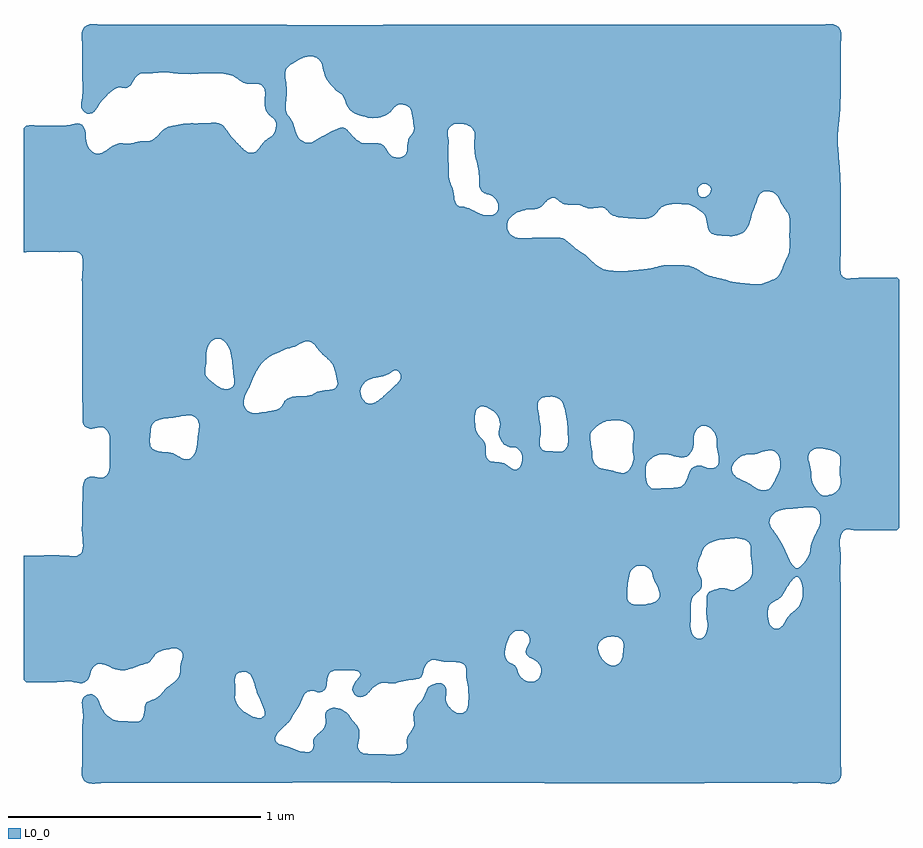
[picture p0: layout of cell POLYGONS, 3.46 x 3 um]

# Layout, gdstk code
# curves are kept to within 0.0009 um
import gdstk
lib = gdstk.Library(unit=1e-6, precision=1e-09)
def R(c, l, rs):  # rectangles x0, y0, x1, y1
    for r in rs: c.add(gdstk.rectangle(r[:2], r[2:], *l))
def P(c, l, *ps):  # polygons
    for p in ps: c.add(gdstk.Polygon(p, *l))
L0_0 = (0, 0)

polygons = lib.new_cell('POLYGONS')
R(polygons, L0_0, [(-1.06,-0.98,-0.87,-0.87), (-0.87,-0.98,-0.727,-0.87), (-0.727,-0.98,-0.561,-0.87), (-0.561,-0.98,-0.405,-0.87), (-0.405,-0.98,-0.22,-0.87), (-0.22,-0.98,0,-0.87), (-1.5,-0.87,-1.432,-0.76), (-1.432,-0.87,-1.24,-0.76), (-1.24,-0.87,-1.06,-0.76), (-1.06,-0.87,-0.87,-0.76), (-0.87,-0.87,-0.727,-0.76), (-0.727,-0.87,-0.561,-0.76), (-0.561,-0.87,-0.405,-0.76), (-0.405,-0.87,-0.22,-0.76), (-0.22,-0.87,0,-0.76), (0,-0.87,0.174,-0.76), (0.174,-0.87,0.33,-0.76), (0.33,-0.87,0.56,-0.76), (-1.432,-0.76,-1.24,-0.47), (-1.24,-0.76,-1.06,-0.47), (-1.06,-0.76,-0.87,-0.47), (-0.87,-0.76,-0.727,-0.47), (-0.727,-0.76,-0.561,-0.47), (-0.561,-0.76,-0.405,-0.47), (-0.405,-0.76,-0.22,-0.47), (-0.22,-0.76,0,-0.47), (0,-0.76,0.174,-0.47), (0.174,-0.76,0.33,-0.47), (0.33,-0.76,0.56,-0.47), (-0.87,-0.47,-0.727,-0.06), (-0.727,-0.47,-0.561,-0.06), (-0.561,-0.47,-0.405,-0.06), (-0.405,-0.47,-0.22,-0.06), (-0.22,-0.47,0,-0.06), (0.93,-0.47,1.06,-0.26), (-0.561,-0.06,-0.405,-0.01), (-0.405,-0.06,-0.22,-0.01), (-0.22,-0.06,0,-0.01), (-0.561,-0.01,-0.405,0.05), (-0.22,-0.01,0,0.7), (0,-0.01,0.174,0.7), (-1.432,0,-1.24,0.13), (-1.24,0,-1.06,0.13), (-1.432,0.13,-1.24,0.7), (-1.24,0.13,-1.06,0.7)])
P(polygons, L0_0, [(-1.5,1.474),(-1.5,1.473),(-1.501,1.47),(-1.502,1.46),(-1.502,1.45),(-1.501,1.44),(-1.5,1.43),(-1.5,1.427),(-1.5,1.425)],
  [(-1.5,1.212),(-1.5,1.211),(-1.5,1.21),(-1.502,1.2),(-1.503,1.19),(-1.504,1.18),(-1.503,1.17),(-1.5,1.164),(-1.5,1.164)],
  [(-1.72,0.6),(-1.59,0.6),(-1.53,0.602),(-1.519,0.6),(-1.51,0.595),(-1.504,0.59),(-1.5,0.582),(-1.5,1.103),(-1.51,1.108),(-1.52,1.109),(-1.55,1.102),(-1.57,1.1),(-1.65,1.099),(-1.71,1.101),(-1.72,1.1),(-1.73,1.09),(-1.73,0.6)],
  [(-1.5,0.511),(-1.5,0.51),(-1.5,0.508),(-1.5,0.5),(-1.501,0.49),(-1.5,0.48),(-1.5,0.473),(-1.5,0.47),(-1.5,0.469)],
  [(-1.5,0.12),(-1.5,0.11),(-1.5,0.102),(-1.5,0.34),(-1.5,0.33),(-1.5,0.32),(-1.5,0.31),(-1.5,0.3),(-1.5,0.29),(-1.5,0.28),(-1.5,0.27),(-1.5,0.26),(-1.5,0.253),(-1.5,0.25),(-1.5,0.23),(-1.5,0.22),(-1.5,0.21),(-1.5,0.2),(-1.5,0.19),(-1.5,0.18),(-1.5,0.17),(-1.5,0.16),(-1.5,0.15),(-1.5,0.14),(-1.5,0.13),(-1.5,0.129)],
  [(-1.5,0.074),(-1.5,0.07),(-1.5,0.06),(-1.5,0.055),(-1.5,0.05),(-1.5,0.04),(-1.5,0.035),(-1.5,0.03),(-1.5,0.026)],
  [(-1.5,-0.48),(-1.501,-0.49),(-1.501,-0.5),(-1.5,-0.51),(-1.5,-0.511),(-1.5,-0.513),(-1.5,-0.468),(-1.5,-0.47),(-1.5,-0.472)],
  [(-1.72,-1.1),(-1.71,-1.101),(-1.6,-1.1),(-1.55,-1.097),(-1.52,-1.103),(-1.5,-1.104),(-1.5,-0.582),(-1.504,-0.59),(-1.51,-0.595),(-1.52,-0.6),(-1.53,-0.602),(-1.62,-0.598),(-1.66,-0.6),(-1.73,-0.6),(-1.73,-1.09)],
  [(-1.5,-1.175),(-1.5,-1.176),(-1.501,-1.18),(-1.5,-1.19),(-1.5,-1.191),(-1.5,-1.192)],
  [(-1.5,-1.422),(-1.5,-1.424),(-1.5,-1.43),(-1.501,-1.44),(-1.502,-1.45),(-1.502,-1.46),(-1.501,-1.47),(-1.5,-1.475),(-1.5,-1.475)],
  [(-1.461,1.15),(-1.45,1.157),(-1.44,1.17),(-1.432,1.184),(-1.432,1.5),(-1.45,1.502),(-1.47,1.501),(-1.48,1.498),(-1.492,1.49),(-1.5,1.474),(-1.499,1.41),(-1.5,1.32),(-1.497,1.25),(-1.5,1.212),(-1.5,1.164),(-1.49,1.153),(-1.48,1.148),(-1.47,1.147)],
  [(-1.432,0.989),(-1.44,0.988),(-1.45,0.99),(-1.46,0.996),(-1.473,1.01),(-1.482,1.03),(-1.488,1.08),(-1.491,1.09),(-1.5,1.103),(-1.5,0.7),(-1.432,0.7)],
  [(-1.432,0.7),(-1.5,0.7),(-1.5,0.582),(-1.497,0.57),(-1.497,0.54),(-1.5,0.511),(-1.499,0.45),(-1.5,0.13),(-1.432,0.13)],
  [(-1.497,-0.02),(-1.498,-0.06),(-1.497,-0.07),(-1.495,-0.08),(-1.49,-0.088),(-1.48,-0.095),(-1.47,-0.098),(-1.45,-0.097),(-1.432,-0.092),(-1.432,0.13),(-1.5,0.13),(-1.5,0.02)],
  [(-1.432,-0.293),(-1.46,-0.288),(-1.474,-0.29),(-1.48,-0.292),(-1.489,-0.3),(-1.494,-0.31),(-1.497,-0.33),(-1.5,-0.47),(-1.432,-0.47)],
  [(-1.432,-0.47),(-1.5,-0.47),(-1.5,-0.513),(-1.496,-0.56),(-1.5,-0.582),(-1.5,-0.76),(-1.432,-0.76)],
  [(-1.49,-1.101),(-1.48,-1.093),(-1.471,-1.08),(-1.467,-1.07),(-1.462,-1.05),(-1.455,-1.04),(-1.44,-1.03),(-1.432,-1.028),(-1.432,-0.87),(-1.5,-0.87),(-1.5,-1.104)],
  [(-1.499,-1.34),(-1.5,-1.475),(-1.498,-1.48),(-1.49,-1.492),(-1.474,-1.5),(-1.46,-1.502),(-1.432,-1.5),(-1.432,-1.18),(-1.44,-1.164),(-1.45,-1.154),(-1.46,-1.149),(-1.47,-1.148),(-1.48,-1.15),(-1.49,-1.156),(-1.499,-1.17),(-1.5,-1.192),(-1.496,-1.23),(-1.5,-1.3)],
  [(-1.43,1.187),(-1.4,1.222),(-1.379,1.24),(-1.37,1.246),(-1.36,1.25),(-1.35,1.251),(-1.33,1.248),(-1.322,1.25),(-1.308,1.26),(-1.29,1.29),(-1.28,1.3),(-1.27,1.305),(-1.26,1.307),(-1.24,1.308),(-1.24,1.5),(-1.35,1.5),(-1.36,1.499),(-1.432,1.5),(-1.432,1.184)],
  [(-1.24,1.038),(-1.25,1.039),(-1.27,1.038),(-1.3,1.031),(-1.32,1.028),(-1.33,1.028),(-1.35,1.031),(-1.36,1.029),(-1.38,1.019),(-1.41,0.998),(-1.432,0.989),(-1.432,0.7),(-1.24,0.7)],
  [(-1.39,-0.17),(-1.391,-0.19),(-1.39,-0.242),(-1.392,-0.26),(-1.395,-0.27),(-1.4,-0.279),(-1.41,-0.288),(-1.42,-0.292),(-1.432,-0.293),(-1.432,-0.47),(-1.24,-0.47),(-1.24,0),(-1.432,0),(-1.432,-0.092),(-1.42,-0.093),(-1.41,-0.097),(-1.406,-0.1),(-1.398,-0.11),(-1.393,-0.12),(-1.391,-0.13)],
  [(-1.34,-1.054),(-1.32,-1.051),(-1.3,-1.045),(-1.28,-1.037),(-1.24,-1.025),(-1.24,-0.87),(-1.432,-0.87),(-1.432,-1.028),(-1.416,-1.03),(-1.36,-1.052),(-1.35,-1.054)],
  [(-1.24,-1.177),(-1.244,-1.18),(-1.25,-1.189),(-1.254,-1.22),(-1.26,-1.242),(-1.27,-1.252),(-1.28,-1.256),(-1.29,-1.257),(-1.33,-1.254),(-1.35,-1.255),(-1.371,-1.25),(-1.38,-1.246),(-1.391,-1.24),(-1.41,-1.224),(-1.42,-1.209),(-1.432,-1.18),(-1.432,-1.32),(-1.24,-1.32)],
  [(-1.43,-1.5),(-1.42,-1.499),(-1.24,-1.499),(-1.24,-1.32),(-1.432,-1.32),(-1.432,-1.5)],
  [(-1.06,1.305),(-1.06,1.499),(-1.24,1.5),(-1.24,1.308),(-1.22,1.308),(-1.19,1.311),(-1.16,1.311),(-1.12,1.306),(-1.07,1.304)],
  [(-1.06,1.109),(-1.11,1.106),(-1.142,1.1),(-1.16,1.095),(-1.18,1.083),(-1.19,1.074),(-1.212,1.05),(-1.22,1.044),(-1.229,1.04),(-1.24,1.038),(-1.24,0.7),(-1.06,0.7)],
  [(-1.232,-0.14),(-1.227,-0.09),(-1.222,-0.08),(-1.212,-0.07),(-1.2,-0.064),(-1.18,-0.058),(-1.13,-0.053),(-1.1,-0.047),(-1.08,-0.045),(-1.07,-0.045),(-1.06,-0.048),(-1.06,0),(-1.24,0),(-1.24,-0.15),(-1.233,-0.15)],
  [(-1.06,-0.206),(-1.07,-0.215),(-1.08,-0.218),(-1.09,-0.218),(-1.11,-0.213),(-1.14,-0.196),(-1.15,-0.193),(-1.18,-0.191),(-1.21,-0.184),(-1.219,-0.18),(-1.228,-0.17),(-1.233,-0.15),(-1.24,-0.15),(-1.24,-0.47),(-1.06,-0.47)],
  [(-1.103,-1),(-1.112,-1.04),(-1.114,-1.07),(-1.118,-1.08),(-1.125,-1.09),(-1.136,-1.1),(-1.163,-1.12),(-1.19,-1.15),(-1.201,-1.16),(-1.21,-1.165),(-1.24,-1.177),(-1.24,-1.32),(-1.06,-1.32),(-1.06,-0.87),(-1.24,-0.87),(-1.24,-1.025),(-1.23,-1.018),(-1.21,-0.99),(-1.2,-0.982),(-1.18,-0.975),(-1.14,-0.967),(-1.13,-0.967),(-1.119,-0.97),(-1.11,-0.977),(-1.107,-0.98),(-1.103,-0.99)],
  [(-1.22,-1.499),(-1.21,-1.499),(-1.2,-1.499),(-1.19,-1.499),(-1.18,-1.499),(-1.17,-1.499),(-1.16,-1.499),(-1.15,-1.499),(-1.14,-1.499),(-1.13,-1.499),(-1.12,-1.499),(-1.11,-1.499),(-1.1,-1.499),(-1.09,-1.499),(-1.08,-1.499),(-1.07,-1.499),(-1.06,-1.499),(-1.06,-1.32),(-1.24,-1.32),(-1.24,-1.499),(-1.23,-1.499)],
  [(-1.04,1.305),(-0.95,1.306),(-0.93,1.304),(-0.913,1.3),(-0.9,1.295),(-0.87,1.275),(-0.87,1.499),(-1.06,1.499),(-1.06,1.305)],
  [(-0.87,1.014),(-0.913,1.06),(-0.94,1.097),(-0.95,1.106),(-0.96,1.11),(-0.97,1.111),(-1.05,1.108),(-1.06,1.109),(-1.06,0.7),(-0.87,0.7)],
  [(-0.87,0.7),(-1.06,0.7),(-1.06,0.13),(-1.014,0.13),(-1.009,0.17),(-1.008,0.21),(-1.006,0.22),(-1,0.234),(-0.99,0.247),(-0.98,0.253),(-0.97,0.257),(-0.96,0.257),(-0.95,0.255),(-0.94,0.25),(-0.93,0.239),(-0.924,0.23),(-0.915,0.21),(-0.907,0.17),(-0.898,0.09),(-0.898,0.08),(-0.902,0.07),(-0.91,0.063),(-0.93,0.058),(-0.95,0.061),(-0.97,0.074),(-1.002,0.1),(-1.011,0.11),(-1.014,0.12),(-1.014,0.13),(-1.06,0.13),(-1.06,0),(-0.87,0)],
  [(-1.04,-0.07),(-1.037,-0.08),(-1.037,-0.09),(-1.046,-0.17),(-1.051,-0.19),(-1.06,-0.206),(-1.06,-0.47),(-0.87,-0.47),(-0.87,0),(-1.06,0),(-1.06,-0.048),(-1.045,-0.06)],
  [(-0.895,-1.08),(-0.89,-1.07),(-0.89,-1.07),(-0.88,-1.064),(-0.87,-1.061),(-0.87,-0.98),(-1.06,-0.98),(-1.06,-1.09),(-0.897,-1.09)],
  [(-0.87,-1.208),(-0.878,-1.2),(-0.885,-1.19),(-0.895,-1.17),(-0.896,-1.16),(-0.894,-1.14),(-0.894,-1.12),(-0.897,-1.09),(-1.06,-1.09),(-1.06,-1.32),(-0.87,-1.32)],
  [(-1.04,-1.499),(-1.03,-1.499),(-1.02,-1.499),(-1.01,-1.499),(-1,-1.499),(-0.98,-1.499),(-0.97,-1.499),(-0.96,-1.499),(-0.95,-1.499),(-0.94,-1.499),(-0.93,-1.499),(-0.92,-1.499),(-0.91,-1.499),(-0.9,-1.499),(-0.89,-1.499),(-0.88,-1.499),(-0.87,-1.499),(-0.87,-1.32),(-1.06,-1.32),(-1.06,-1.499),(-1.05,-1.499)],
  [(-0.727,1.499),(-0.73,1.499),(-0.74,1.499),(-0.75,1.499),(-0.76,1.499),(-0.77,1.499),(-0.78,1.499),(-0.79,1.499),(-0.8,1.499),(-0.81,1.499),(-0.82,1.499),(-0.83,1.499),(-0.84,1.499),(-0.85,1.499),(-0.86,1.499),(-0.87,1.499),(-0.87,1.3),(-0.727,1.3)],
  [(-0.727,1.3),(-0.87,1.3),(-0.87,1.275),(-0.862,1.27),(-0.85,1.266),(-0.84,1.265),(-0.8,1.264),(-0.79,1.26),(-0.781,1.25),(-0.776,1.23),(-0.777,1.18),(-0.776,1.17),(-0.773,1.16),(-0.767,1.15),(-0.76,1.142),(-0.744,1.13),(-0.736,1.12),(-0.733,1.11),(-0.734,1.09),(-0.741,1.07),(-0.75,1.059),(-0.764,1.05),(-0.78,1.037),(-0.8,1.01),(-0.81,0.999),(-0.82,0.994),(-0.83,0.992),(-0.84,0.993),(-0.85,0.997),(-0.87,1.014),(-0.87,0.7),(-0.727,0.7)],
  [(-0.86,0.01),(-0.857,0.03),(-0.853,0.04),(-0.84,0.064),(-0.821,0.11),(-0.811,0.13),(-0.798,0.15),(-0.79,0.16),(-0.769,0.18),(-0.75,0.192),(-0.727,0.202),(-0.727,0.7),(-0.87,0.7),(-0.87,0),(-0.861,0)],
  [(-0.727,-0.022),(-0.74,-0.026),(-0.78,-0.033),(-0.8,-0.036),(-0.82,-0.037),(-0.84,-0.032),(-0.85,-0.025),(-0.859,-0.01),(-0.861,0),(-0.87,0),(-0.87,-0.06),(-0.727,-0.06)],
  [(-0.86,-1.06),(-0.85,-1.062),(-0.84,-1.067),(-0.836,-1.07),(-0.83,-1.078),(-0.824,-1.09),(-0.809,-1.14),(-0.783,-1.2),(-0.777,-1.22),(-0.778,-1.23),(-0.788,-1.24),(-0.8,-1.243),(-0.81,-1.242),(-0.83,-1.235),(-0.85,-1.224),(-0.87,-1.208),(-0.87,-1.32),(-0.737,-1.32),(-0.727,-1.3),(-0.727,-0.98),(-0.87,-0.98),(-0.87,-1.061)],
  [(-0.86,-1.499),(-0.727,-1.498),(-0.727,-1.341),(-0.737,-1.33),(-0.737,-1.32),(-0.87,-1.32),(-0.87,-1.499)],
  [(-0.696,1.31),(-0.694,1.32),(-0.69,1.329),(-0.678,1.34),(-0.644,1.36),(-0.623,1.37),(-0.61,1.373),(-0.59,1.374),(-0.577,1.37),(-0.57,1.366),(-0.561,1.358),(-0.561,1.498),(-0.727,1.499),(-0.727,1.3),(-0.697,1.3)],
  [(-0.561,1.052),(-0.59,1.035),(-0.6,1.033),(-0.61,1.033),(-0.62,1.035),(-0.631,1.04),(-0.643,1.05),(-0.65,1.06),(-0.666,1.11),(-0.677,1.13),(-0.69,1.148),(-0.694,1.16),(-0.694,1.19),(-0.69,1.24),(-0.697,1.3),(-0.727,1.3),(-0.727,0.7),(-0.561,0.7)],
  [(-0.72,0.205),(-0.7,0.214),(-0.66,0.226),(-0.62,0.246),(-0.61,0.247),(-0.6,0.246),(-0.59,0.242),(-0.58,0.233),(-0.561,0.208),(-0.561,0.7),(-0.727,0.7),(-0.727,0.202)],
  [(-0.722,-0.02),(-0.727,-0.022),(-0.727,-0.06),(-0.561,-0.06),(-0.561,0.05),(-0.57,0.047),(-0.59,0.037),(-0.6,0.034),(-0.62,0.031),(-0.653,0.03),(-0.67,0.028),(-0.68,0.024),(-0.689,0.02),(-0.7,0.01),(-0.71,-0.009)],
  [(-0.717,-1.29),(-0.69,-1.265),(-0.678,-1.25),(-0.646,-1.2),(-0.635,-1.18),(-0.627,-1.16),(-0.62,-1.147),(-0.61,-1.139),(-0.6,-1.136),(-0.59,-1.135),(-0.57,-1.14),(-0.561,-1.14),(-0.561,-0.98),(-0.727,-0.98),(-0.727,-1.3)],
  [(-0.69,-1.498),(-0.561,-1.497),(-0.561,-1.299),(-0.582,-1.32),(-0.586,-1.33),(-0.585,-1.35),(-0.586,-1.36),(-0.59,-1.369),(-0.6,-1.375),(-0.61,-1.377),(-0.64,-1.373),(-0.69,-1.354),(-0.72,-1.345),(-0.727,-1.341),(-0.727,-1.498)],
  [(-0.405,1.498),(-0.561,1.498),(-0.561,1.358),(-0.555,1.35),(-0.551,1.34),(-0.546,1.32),(-0.536,1.29),(-0.52,1.266),(-0.5,1.243),(-0.49,1.234),(-0.47,1.22),(-0.46,1.2),(-0.457,1.19),(-0.448,1.17),(-0.439,1.16),(-0.43,1.153),(-0.405,1.142)],
  [(-0.405,1.038),(-0.42,1.049),(-0.45,1.081),(-0.46,1.089),(-0.47,1.093),(-0.48,1.092),(-0.5,1.084),(-0.561,1.052),(-0.561,0.7),(-0.405,0.7)],
  [(-0.405,0.7),(-0.561,0.7),(-0.561,0.208),(-0.52,0.17),(-0.51,0.156),(-0.503,0.14),(-0.493,0.1),(-0.49,0.08),(-0.494,0.07),(-0.5,0.062),(-0.51,0.057),(-0.561,0.05),(-0.405,0.05)],
  [(-0.559,-1.14),(-0.55,-1.138),(-0.54,-1.13),(-0.535,-1.12),(-0.529,-1.08),(-0.525,-1.07),(-0.52,-1.064),(-0.51,-1.057),(-0.5,-1.054),(-0.49,-1.053),(-0.43,-1.054),(-0.41,-1.057),(-0.405,-1.061),(-0.405,-0.98),(-0.561,-0.98),(-0.561,-1.14)],
  [(-0.405,-1.081),(-0.421,-1.1),(-0.43,-1.12),(-0.431,-1.13),(-0.429,-1.14),(-0.423,-1.15),(-0.42,-1.153),(-0.41,-1.158),(-0.405,-1.159)],
  [(-0.56,-1.497),(-0.405,-1.496),(-0.405,-1.369),(-0.41,-1.36),(-0.411,-1.35),(-0.405,-1.32),(-0.405,-1.29),(-0.408,-1.28),(-0.414,-1.27),(-0.43,-1.253),(-0.446,-1.23),(-0.46,-1.217),(-0.48,-1.206),(-0.49,-1.203),(-0.51,-1.202),(-0.53,-1.212),(-0.536,-1.22),(-0.539,-1.23),(-0.539,-1.24),(-0.537,-1.25),(-0.537,-1.26),(-0.539,-1.27),(-0.543,-1.28),(-0.551,-1.29),(-0.561,-1.299),(-0.561,-1.497)],
  [(-0.34,1.131),(-0.32,1.133),(-0.3,1.141),(-0.28,1.156),(-0.26,1.177),(-0.25,1.182),(-0.24,1.184),(-0.22,1.181),(-0.22,1.499),(-0.405,1.498),(-0.405,1.142),(-0.37,1.132),(-0.35,1.13)],
  [(-0.22,0.987),(-0.228,0.98),(-0.24,0.976),(-0.25,0.974),(-0.27,0.977),(-0.28,0.983),(-0.287,0.99),(-0.307,1.02),(-0.31,1.023),(-0.32,1.028),(-0.33,1.03),(-0.39,1.031),(-0.405,1.038),(-0.405,0.7),(-0.22,0.7)],
  [(-0.22,0.7),(-0.405,0.7),(-0.405,0.05),(-0.4,0.05),(-0.398,0.06),(-0.394,0.07),(-0.387,0.08),(-0.38,0.087),(-0.37,0.094),(-0.355,0.1),(-0.3,0.113),(-0.29,0.117),(-0.27,0.13),(-0.26,0.132),(-0.25,0.129),(-0.242,0.12),(-0.24,0.112),(-0.241,0.1),(-0.246,0.09),(-0.254,0.08),(-0.297,0.04),(-0.321,0.02),(-0.33,0.013),(-0.35,0.002),(-0.36,0),(-0.37,0.002),(-0.38,0.007),(-0.392,0.02),(-0.397,0.03),(-0.4,0.05),(-0.405,0.05),(-0.405,-0.01),(-0.22,-0.01)],
  [(-0.39,-1.159),(-0.374,-1.15),(-0.347,-1.12),(-0.33,-1.109),(-0.32,-1.105),(-0.31,-1.103),(-0.28,-1.105),(-0.26,-1.104),(-0.22,-1.094),(-0.22,-0.98),(-0.405,-0.98),(-0.405,-1.061),(-0.399,-1.07),(-0.405,-1.081),(-0.405,-1.159),(-0.4,-1.16)],
  [(-0.404,-1.31),(-0.404,-1.3),(-0.405,-1.29),(-0.405,-1.317)],
  [(-0.22,-1.37),(-0.23,-1.379),(-0.24,-1.383),(-0.25,-1.385),(-0.28,-1.387),(-0.36,-1.385),(-0.38,-1.383),(-0.392,-1.38),(-0.4,-1.375),(-0.405,-1.369),(-0.405,-1.496),(-0.22,-1.499)],
  [(-0.201,1.06),(-0.208,1.05),(-0.21,1.044),(-0.213,1.03),(-0.215,1),(-0.22,0.987),(-0.22,0.7),(0,0.7),(0,0.779),(-0.01,0.782),(-0.02,0.789),(-0.025,0.8),(-0.028,0.81),(-0.03,0.83),(-0.034,0.85),(-0.047,0.88),(-0.05,0.896),(-0.051,0.91),(-0.05,0.95),(-0.053,0.97),(-0.051,1.04),(-0.055,1.07),(-0.054,1.08),(-0.05,1.09),(-0.04,1.1),(-0.03,1.105),(-0.02,1.107),(0,1.108),(0,1.499),(-0.22,1.499),(-0.22,1.181),(-0.21,1.175),(-0.2,1.163),(-0.194,1.14),(-0.187,1.09),(-0.188,1.08),(-0.193,1.07)],
  [(-0.21,-1.092),(-0.19,-1.091),(-0.17,-1.087),(-0.16,-1.08),(-0.154,-1.07),(-0.146,-1.04),(-0.14,-1.029),(-0.13,-1.019),(-0.12,-1.014),(-0.11,-1.012),(-0.07,-1.019),(-0.03,-1.02),(-0.01,-1.022),(0,-1.025),(0,-0.98),(-0.22,-0.98),(-0.22,-1.094)],
  [(0,-1.224),(-0.01,-1.224),(-0.02,-1.221),(-0.03,-1.216),(-0.04,-1.208),(-0.055,-1.19),(-0.06,-1.18),(-0.062,-1.17),(-0.06,-1.13),(-0.063,-1.12),(-0.071,-1.11),(-0.08,-1.105),(-0.09,-1.104),(-0.1,-1.105),(-0.12,-1.112),(-0.131,-1.12),(-0.137,-1.13),(-0.15,-1.16),(-0.185,-1.21),(-0.189,-1.22),(-0.19,-1.23),(-0.186,-1.26),(-0.187,-1.27),(-0.19,-1.281),(-0.21,-1.31),(-0.215,-1.32),(-0.217,-1.33),(-0.214,-1.35),(-0.215,-1.36),(-0.22,-1.37),(-0.22,-1.499),(0,-1.499)],
  [(0.09,0.833),(0.12,0.822),(0.135,0.81),(0.145,0.79),(0.146,0.78),(0.146,0.77),(0.14,0.757),(0.131,0.75),(0.12,0.746),(0.11,0.745),(0.09,0.746),(0.07,0.753),(0.03,0.773),(0.01,0.779),(0,0.779),(0,0.7),(0.174,0.7),(0.174,1.499),(0,1.499),(0,1.108),(0.02,1.103),(0.03,1.099),(0.04,1.092),(0.05,1.079),(0.053,1.07),(0.05,1.02),(0.053,0.99),(0.067,0.93),(0.07,0.9),(0.071,0.86),(0.074,0.85),(0.08,0.84)],
  [(0.174,-0.01),(0,-0.01),(0,-0.06),(0.053,-0.06),(0.054,-0.04),(0.056,-0.03),(0.06,-0.022),(0.07,-0.013),(0.08,-0.01),(0.09,-0.011),(0.1,-0.014),(0.12,-0.025),(0.13,-0.032),(0.138,-0.04),(0.145,-0.05),(0.149,-0.06),(0.152,-0.07),(0.153,-0.08),(0.148,-0.11),(0.148,-0.12),(0.15,-0.13),(0.16,-0.149),(0.168,-0.16),(0.174,-0.164)],
  [(0.174,-0.238),(0.17,-0.235),(0.16,-0.232),(0.12,-0.228),(0.11,-0.224),(0.105,-0.22),(0.1,-0.213),(0.095,-0.2),(0.095,-0.17),(0.09,-0.15),(0.083,-0.14),(0.07,-0.127),(0.059,-0.11),(0.055,-0.09),(0.053,-0.06),(0,-0.06),(0,-0.47),(0.174,-0.47)],
  [(0.172,-0.97),(0.174,-0.96),(0.174,-0.87),(0,-0.87),(0,-0.98),(0.171,-0.98)],
  [(0.02,-1.499),(0.174,-1.499),(0.174,-1.003),(0.171,-0.99),(0.171,-0.98),(0,-0.98),(0,-1.025),(0.009,-1.03),(0.017,-1.04),(0.019,-1.05),(0.018,-1.07),(0.026,-1.12),(0.028,-1.15),(0.026,-1.19),(0.02,-1.211),(0.011,-1.22),(0,-1.224),(0,-1.499)],
  [(0.33,1.499),(0.25,1.5),(0.174,1.499),(0.174,0.84),(0.33,0.84)],
  [(0.18,0.702),(0.18,0.71),(0.187,0.73),(0.2,0.744),(0.21,0.752),(0.22,0.757),(0.24,0.764),(0.26,0.769),(0.29,0.77),(0.3,0.772),(0.316,0.78),(0.33,0.795),(0.33,0.84),(0.174,0.84),(0.174,0.7),(0.18,0.7)],
  [(0.301,0),(0.304,0.01),(0.313,0.02),(0.32,0.024),(0.33,0.027),(0.33,0.656),(0.29,0.657),(0.26,0.654),(0.23,0.654),(0.22,0.656),(0.21,0.659),(0.2,0.664),(0.193,0.67),(0.19,0.673),(0.181,0.69),(0.18,0.7),(0.174,0.7),(0.174,-0.01),(0.301,-0.01)],
  [(0.33,-0.186),(0.32,-0.182),(0.31,-0.168),(0.309,-0.15),(0.313,-0.12),(0.314,-0.1),(0.301,-0.01),(0.174,-0.01),(0.174,-0.164),(0.18,-0.168),(0.19,-0.171),(0.21,-0.172),(0.22,-0.176),(0.234,-0.19),(0.24,-0.208),(0.24,-0.223),(0.236,-0.24),(0.23,-0.25),(0.22,-0.258),(0.21,-0.26),(0.2,-0.257),(0.174,-0.238),(0.174,-0.47),(0.33,-0.47)],
  [(0.255,-0.98),(0.257,-0.99),(0.265,-1),(0.29,-1.013),(0.3,-1.02),(0.31,-1.033),(0.316,-1.05),(0.316,-1.06),(0.314,-1.07),(0.31,-1.08),(0.3,-1.091),(0.29,-1.096),(0.28,-1.099),(0.27,-1.099),(0.26,-1.097),(0.246,-1.09),(0.234,-1.08),(0.227,-1.07),(0.22,-1.049),(0.215,-1.04),(0.21,-1.034),(0.19,-1.024),(0.185,-1.02),(0.18,-1.015),(0.174,-1.003),(0.174,-1.499),(0.32,-1.499),(0.33,-1.5),(0.33,-0.87),(0.174,-0.87),(0.174,-0.96),(0.18,-0.94),(0.188,-0.92),(0.2,-0.906),(0.21,-0.9),(0.22,-0.897),(0.24,-0.898),(0.25,-0.902),(0.261,-0.91),(0.267,-0.92),(0.269,-0.93),(0.269,-0.94),(0.266,-0.95),(0.256,-0.97)],
  [(0.56,1.499),(0.55,1.499),(0.54,1.499),(0.53,1.499),(0.52,1.499),(0.51,1.499),(0.5,1.499),(0.49,1.499),(0.47,1.499),(0.46,1.499),(0.44,1.499),(0.43,1.499),(0.42,1.499),(0.39,1.499),(0.38,1.499),(0.37,1.499),(0.36,1.499),(0.35,1.499),(0.34,1.499),(0.33,1.499),(0.33,0.84),(0.56,0.84)],
  [(0.34,0.805),(0.35,0.812),(0.36,0.815),(0.37,0.814),(0.38,0.808),(0.4,0.792),(0.41,0.789),(0.46,0.787),(0.47,0.785),(0.5,0.774),(0.51,0.773),(0.55,0.777),(0.56,0.776),(0.56,0.84),(0.33,0.84),(0.33,0.795)],
  [(0.35,0.029),(0.36,0.028),(0.38,0.023),(0.396,0.01),(0.402,0),(0.409,-0.02),(0.417,-0.06),(0.423,-0.14),(0.421,-0.16),(0.418,-0.17),(0.41,-0.181),(0.4,-0.187),(0.39,-0.189),(0.37,-0.189),(0.34,-0.188),(0.33,-0.186),(0.33,-0.47),(0.56,-0.47),(0.56,-0.257),(0.54,-0.25),(0.529,-0.24),(0.523,-0.23),(0.519,-0.22),(0.517,-0.21),(0.514,-0.17),(0.509,-0.14),(0.51,-0.12),(0.514,-0.11),(0.522,-0.1),(0.533,-0.09),(0.55,-0.078),(0.56,-0.073),(0.56,0.533),(0.546,0.54),(0.531,0.55),(0.52,0.559),(0.489,0.59),(0.45,0.616),(0.42,0.642),(0.41,0.649),(0.4,0.654),(0.39,0.657),(0.33,0.656),(0.33,0.027),(0.34,0.029)],
  [(0.54,-0.956),(0.541,-0.95),(0.547,-0.94),(0.55,-0.937),(0.558,-0.93),(0.56,-0.929),(0.56,-0.87),(0.33,-0.87),(0.33,-0.96),(0.539,-0.96)],
  [(0.49,-1.5),(0.56,-1.5),(0.56,-1.013),(0.55,-1),(0.545,-0.99),(0.539,-0.97),(0.539,-0.96),(0.33,-0.96),(0.33,-1.5)],
  [(0.737,1.499),(0.73,1.499),(0.72,1.499),(0.71,1.499),(0.7,1.499),(0.69,1.499),(0.68,1.499),(0.67,1.499),(0.65,1.499),(0.6,1.499),(0.58,1.499),(0.56,1.499),(0.56,0.84),(0.737,0.84)],
  [(0.72,0.731),(0.737,0.733),(0.737,0.84),(0.56,0.84),(0.56,0.776),(0.57,0.771),(0.59,0.75),(0.6,0.744),(0.62,0.738),(0.7,0.731)],
  [(0.57,-0.069),(0.6,-0.065),(0.62,-0.065),(0.65,-0.072),(0.663,-0.08),(0.67,-0.087),(0.678,-0.1),(0.681,-0.11),(0.682,-0.12),(0.682,-0.13),(0.677,-0.17),(0.681,-0.22),(0.675,-0.24),(0.664,-0.26),(0.65,-0.271),(0.64,-0.274),(0.63,-0.273),(0.62,-0.271),(0.6,-0.264),(0.56,-0.257),(0.56,-0.47),(0.737,-0.47),(0.737,-0.32),(0.733,-0.31),(0.729,-0.29),(0.729,-0.25),(0.731,-0.24),(0.737,-0.228),(0.737,0.534),(0.65,0.525),(0.61,0.525),(0.58,0.528),(0.56,0.533),(0.56,-0.073)],
  [(0.655,-0.75),(0.655,-0.74),(0.661,-0.69),(0.663,-0.68),(0.67,-0.66),(0.68,-0.649),(0.69,-0.643),(0.7,-0.641),(0.709,-0.64),(0.72,-0.641),(0.737,-0.647),(0.737,-0.47),(0.56,-0.47),(0.56,-0.76),(0.655,-0.76)],
  [(0.737,-0.791),(0.73,-0.793),(0.71,-0.795),(0.69,-0.795),(0.672,-0.79),(0.66,-0.78),(0.656,-0.77),(0.655,-0.76),(0.56,-0.76),(0.56,-0.87),(0.737,-0.87)],
  [(0.58,-0.921),(0.6,-0.919),(0.62,-0.923),(0.631,-0.93),(0.639,-0.94),(0.642,-0.95),(0.637,-1),(0.634,-1.01),(0.629,-1.02),(0.62,-1.029),(0.61,-1.033),(0.6,-1.035),(0.59,-1.034),(0.58,-1.03),(0.57,-1.023),(0.56,-1.013),(0.56,-1.5),(0.737,-1.5),(0.737,-0.87),(0.56,-0.87),(0.56,-0.929),(0.57,-0.924)],
  [(0.93,1.5),(0.737,1.499),(0.737,0.84),(0.93,0.84)],
  [(0.74,0.734),(0.75,0.737),(0.76,0.743),(0.79,0.777),(0.81,0.786),(0.84,0.791),(0.89,0.789),(0.91,0.784),(0.93,0.773),(0.93,0.84),(0.737,0.84),(0.737,0.733)],
  [(0.74,-0.224),(0.759,-0.21),(0.78,-0.201),(0.79,-0.199),(0.811,-0.2),(0.86,-0.212),(0.87,-0.213),(0.88,-0.212),(0.89,-0.209),(0.9,-0.201),(0.909,-0.19),(0.914,-0.18),(0.917,-0.17),(0.92,-0.12),(0.924,-0.11),(0.93,-0.102),(0.93,0.534),(0.919,0.54),(0.9,0.546),(0.87,0.549),(0.81,0.549),(0.78,0.544),(0.75,0.536),(0.737,0.534),(0.737,-0.228)],
  [(0.9,-0.273),(0.885,-0.31),(0.88,-0.317),(0.87,-0.326),(0.86,-0.33),(0.83,-0.333),(0.76,-0.335),(0.75,-0.333),(0.737,-0.32),(0.737,-0.47),(0.93,-0.47),(0.93,-0.245),(0.92,-0.248),(0.91,-0.255),(0.906,-0.26)],
  [(0.906,-0.86),(0.907,-0.84),(0.906,-0.8),(0.908,-0.78),(0.911,-0.77),(0.917,-0.76),(0.93,-0.747),(0.93,-0.47),(0.737,-0.47),(0.737,-0.647),(0.75,-0.66),(0.754,-0.67),(0.759,-0.69),(0.773,-0.72),(0.781,-0.74),(0.783,-0.75),(0.783,-0.76),(0.78,-0.768),(0.77,-0.78),(0.76,-0.785),(0.737,-0.791),(0.737,-0.87),(0.905,-0.87)],
  [(0.86,-1.5),(0.93,-1.5),(0.93,-0.926),(0.92,-0.92),(0.91,-0.905),(0.906,-0.89),(0.905,-0.87),(0.737,-0.87),(0.737,-1.5)],
  [(1.06,1.499),(0.93,1.5),(0.93,0.84),(0.934,0.84),(0.934,0.85),(0.939,0.86),(0.95,0.868),(0.96,0.87),(0.97,0.868),(0.98,0.862),(0.987,0.85),(0.986,0.84),(0.981,0.83),(0.97,0.82),(0.96,0.816),(0.95,0.816),(0.94,0.822),(0.936,0.83),(0.934,0.84),(0.93,0.84),(0.93,0.773),(0.95,0.759),(0.96,0.75),(0.965,0.74),(0.968,0.73),(0.976,0.69),(0.982,0.68),(0.99,0.673),(1,0.669),(1.01,0.667),(1.06,0.663)],
  [(0.94,-0.092),(0.95,-0.087),(0.96,-0.086),(0.97,-0.088),(0.98,-0.093),(0.989,-0.1),(1,-0.113),(1.007,-0.13),(1.009,-0.14),(1.01,-0.17),(1.017,-0.21),(1.018,-0.23),(1.016,-0.24),(1.01,-0.247),(1,-0.252),(0.99,-0.254),(0.98,-0.254),(0.97,-0.252),(0.95,-0.245),(0.94,-0.244),(0.93,-0.245),(0.93,-0.26),(1.06,-0.26),(1.06,0.485),(1.02,0.497),(0.98,0.506),(0.951,0.52),(0.93,0.534),(0.93,-0.102)],
  [(0.939,-0.74),(0.947,-0.73),(0.95,-0.72),(0.95,-0.71),(0.947,-0.69),(0.935,-0.66),(0.933,-0.65),(0.935,-0.63),(0.952,-0.58),(0.96,-0.566),(0.966,-0.56),(0.98,-0.551),(1,-0.543),(1.02,-0.538),(1.05,-0.533),(1.06,-0.533),(1.06,-0.47),(0.93,-0.47),(0.93,-0.747)],
  [(0.97,-0.851),(0.972,-0.86),(0.973,-0.88),(0.97,-0.9),(0.966,-0.91),(0.96,-0.919),(0.95,-0.927),(0.94,-0.928),(0.93,-0.926),(0.93,-1.5),(1.06,-1.499),(1.06,-0.734),(1.05,-0.731),(1.03,-0.729),(1.02,-0.73),(0.985,-0.74),(0.973,-0.75),(0.97,-0.76),(0.968,-0.81),(0.968,-0.83)],
  [(1.08,0.664),(1.101,0.67),(1.11,0.675),(1.12,0.683),(1.13,0.696),(1.137,0.71),(1.148,0.75),(1.164,0.79),(1.17,0.81),(1.181,0.83),(1.19,0.837),(1.2,0.84),(1.21,0.841),(1.23,0.836),(1.23,1.499),(1.06,1.499),(1.06,0.663)],
  [(1.068,-0.25),(1.078,-0.23),(1.09,-0.218),(1.11,-0.206),(1.13,-0.2),(1.16,-0.2),(1.17,-0.198),(1.19,-0.19),(1.21,-0.185),(1.22,-0.184),(1.23,-0.185),(1.23,0.491),(1.2,0.478),(1.19,0.475),(1.17,0.472),(1.09,0.479),(1.06,0.485),(1.06,-0.26),(1.068,-0.26)],
  [(1.218,-0.46),(1.221,-0.45),(1.23,-0.438),(1.23,-0.32),(1.22,-0.333),(1.21,-0.339),(1.2,-0.342),(1.19,-0.342),(1.18,-0.34),(1.17,-0.336),(1.129,-0.31),(1.09,-0.292),(1.076,-0.28),(1.07,-0.27),(1.068,-0.26),(1.06,-0.26),(1.06,-0.47),(1.217,-0.47)],
  [(1.08,-0.532),(1.1,-0.533),(1.12,-0.538),(1.13,-0.543),(1.137,-0.55),(1.143,-0.56),(1.144,-0.57),(1.143,-0.6),(1.148,-0.63),(1.15,-0.66),(1.147,-0.68),(1.14,-0.693),(1.13,-0.703),(1.11,-0.717),(1.08,-0.734),(1.07,-0.736),(1.06,-0.734),(1.06,-0.83),(1.21,-0.83),(1.212,-0.81),(1.215,-0.8),(1.22,-0.793),(1.23,-0.785),(1.23,-0.497),(1.22,-0.481),(1.217,-0.47),(1.06,-0.47),(1.06,-0.533)],
  [(1.08,-1.499),(1.23,-1.499),(1.23,-0.886),(1.217,-0.87),(1.21,-0.83),(1.06,-0.83),(1.06,-1.499)],
  [(1.26,-0.226),(1.26,-0.25),(1.255,-0.27),(1.23,-0.32),(1.23,-0.438),(1.24,-0.429),(1.26,-0.42),(1.28,-0.416),(1.35,-0.41),(1.35,1.499),(1.32,1.5),(1.23,1.499),(1.23,0.836),(1.24,0.831),(1.25,0.82),(1.273,0.78),(1.293,0.75),(1.298,0.73),(1.298,0.7),(1.296,0.67),(1.297,0.62),(1.295,0.6),(1.29,0.584),(1.274,0.55),(1.26,0.516),(1.248,0.5),(1.23,0.491),(1.23,-0.185),(1.24,-0.19),(1.251,-0.2),(1.256,-0.21)],
  [(1.33,-1.5),(1.35,-1.499),(1.35,-0.634),(1.34,-0.644),(1.33,-0.65),(1.32,-0.648),(1.31,-0.639),(1.3,-0.624),(1.281,-0.58),(1.265,-0.55),(1.25,-0.525),(1.23,-0.497),(1.23,-0.785),(1.25,-0.774),(1.266,-0.76),(1.3,-0.706),(1.31,-0.694),(1.32,-0.685),(1.33,-0.684),(1.34,-0.695),(1.346,-0.71),(1.35,-0.74),(1.35,-0.75),(1.347,-0.77),(1.34,-0.791),(1.335,-0.8),(1.32,-0.816),(1.302,-0.83),(1.293,-0.84),(1.275,-0.87),(1.267,-0.88),(1.26,-0.885),(1.25,-0.889),(1.24,-0.889),(1.23,-0.886),(1.23,-1.499)],
  [(1.499,0.52),(1.497,0.53),(1.497,0.56),(1.499,0.584),(1.499,0.87),(1.496,0.93),(1.491,0.98),(1.487,1.04),(1.487,1.06),(1.497,1.16),(1.499,1.21),(1.499,1.478),(1.49,1.492),(1.48,1.498),(1.47,1.501),(1.45,1.502),(1.41,1.499),(1.35,1.499),(1.35,-0.21),(1.371,-0.21),(1.373,-0.2),(1.38,-0.188),(1.39,-0.181),(1.4,-0.177),(1.41,-0.176),(1.43,-0.177),(1.45,-0.181),(1.48,-0.191),(1.491,-0.2),(1.497,-0.21),(1.498,-0.23),(1.495,-0.27),(1.499,-0.297)],
  [(1.36,-0.409),(1.38,-0.408),(1.39,-0.409),(1.4,-0.412),(1.41,-0.421),(1.415,-0.43),(1.418,-0.44),(1.419,-0.46),(1.416,-0.48),(1.39,-0.534),(1.384,-0.55),(1.373,-0.6),(1.362,-0.62),(1.35,-0.634),(1.35,-1.499),(1.41,-1.499),(1.46,-1.503),(1.475,-1.5),(1.49,-1.492),(1.499,-1.479),(1.499,-0.71),(1.497,-0.67),(1.499,-0.63),(1.499,-0.59),(1.496,-0.56),(1.496,-0.54),(1.499,-0.527),(1.499,-0.315),(1.495,-0.33),(1.49,-0.34),(1.48,-0.35),(1.46,-0.359),(1.44,-0.363),(1.43,-0.363),(1.42,-0.359),(1.41,-0.35),(1.4,-0.336),(1.387,-0.31),(1.382,-0.29),(1.382,-0.27),(1.371,-0.21),(1.35,-0.21),(1.35,-0.41)],
  [(1.499,1.22),(1.499,1.42),(1.5,1.429),(1.5,1.43),(1.502,1.45),(1.502,1.46),(1.501,1.47),(1.499,1.478)],
  [(1.499,0.59),(1.499,0.6),(1.5,0.61),(1.5,0.75),(1.499,0.76),(1.499,0.87)],
  [(1.5,-0.521),(1.505,-0.51),(1.51,-0.504),(1.52,-0.498),(1.53,-0.496),(1.56,-0.5),(1.61,-0.499),(1.63,-0.5),(1.71,-0.499),(1.72,-0.5),(1.73,-0.49),(1.73,0.49),(1.72,0.5),(1.71,0.499),(1.6,0.499),(1.53,0.495),(1.52,0.497),(1.51,0.501),(1.502,0.51),(1.499,0.52),(1.499,-0.527)],
  [(1.499,-0.62),(1.499,-0.61),(1.499,-0.6),(1.499,-0.59),(1.499,-0.59),(1.499,-0.628)],
  [(1.5,-1.475),(1.501,-1.47),(1.502,-1.46),(1.502,-1.45),(1.5,-1.43),(1.5,-1.42),(1.499,-1.41),(1.499,-1.14),(1.5,-1.13),(1.5,-0.77),(1.499,-0.76),(1.499,-0.714),(1.499,-1.479)])

lib.write_gds('POLYGONS.gds')
